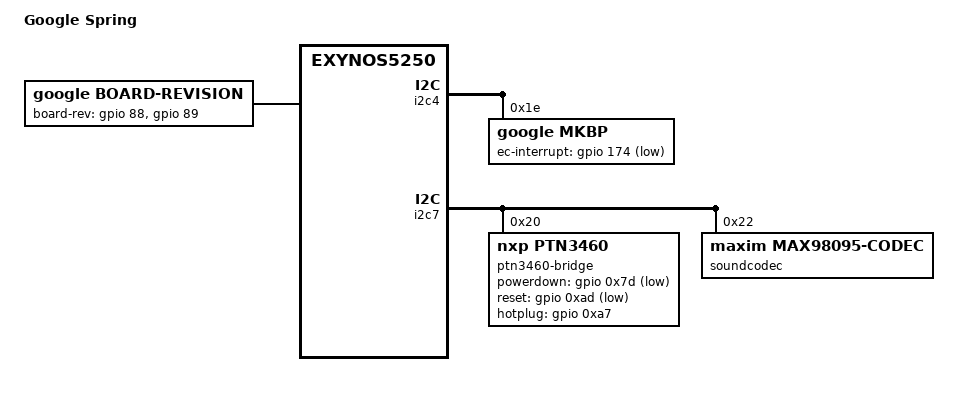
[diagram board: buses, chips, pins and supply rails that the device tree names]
/*
 * Google Snow board device tree source
 *
 * Copyright (c) 2012 Google, Inc
 *
 * This program is free software; you can redistribute it and/or modify
 * it under the terms of the GNU General Public License version 2 as
 * published by the Free Software Foundation.
*/

/dts-v1/;
/include/ "exynos5250.dtsi"
/include/ "flashmap-exynos-ro.dtsi"
/include/ "flashmap-4mb-rw.dtsi"
/include/ "chromeos-exynos.dtsi"
/include/ "cros5250-common.dtsi"

/ {
	model = "Google Spring";
	compatible = "google,spring", "google,daisy", "samsung,smdk5250",
		   "samsung,exynos5250";

	board-rev {
		compatible = "google,board-revision";
		google,board-rev-gpios = <&gpio 88 0>, <&gpio 89 0>;
	};

	dmc@10C00000 {
		mem-manuf = "elpida";
	};

	i2c4: i2c@12ca0000 {
		mkbp@1e {
			reg = <0x1e>;
			compatible = "google,mkbp";
			i2c-max-frequency = <100000>;
			ec-interrupt = <&gpio 174 1>;
		};
	};
	i2c7: i2c@12cd0000 {
		ptn3460-bridge@20 {
			compatible = "nxp,ptn3460";
			reg = <0x20>;
			powerdown-gpio = <&gpio 0x7d 1>;	/* Y25 */
			reset-gpio = <&gpio 0xad 1>;		/* X15 */
			hotplug-gpio = <&gpio 0xa7 0>;		/* X07 */
		};

		/* TODO(sjg@chromium.org): Probably should be 0x11 */
		soundcodec@22 {
			reg = <0x22>;
			compatible = "maxim,max98095-codec";
		};
	};

	spi@131b0000 {
		spi-max-frequency = <1000000>;
		spi-deactivate-delay = <100>;
		mkbp@0 {
			reg = <0>;
			compatible = "google,mkbp";
			spi-max-frequency = <5000000>;
			ec-interrupt = <&gpio 174 1>;
			optimise-flash-write;
			status = "disabled";
		};
	};

	chrome-ec {
		compatible = "google,chrome-ec";
		flash@8000000 {
			reg = <0x08000000 0x20000>;
			erase-value = <0xff>;
		};
	};

	sound@12d60000 {
		samsung,codec-type = "max98095";
	};

};
